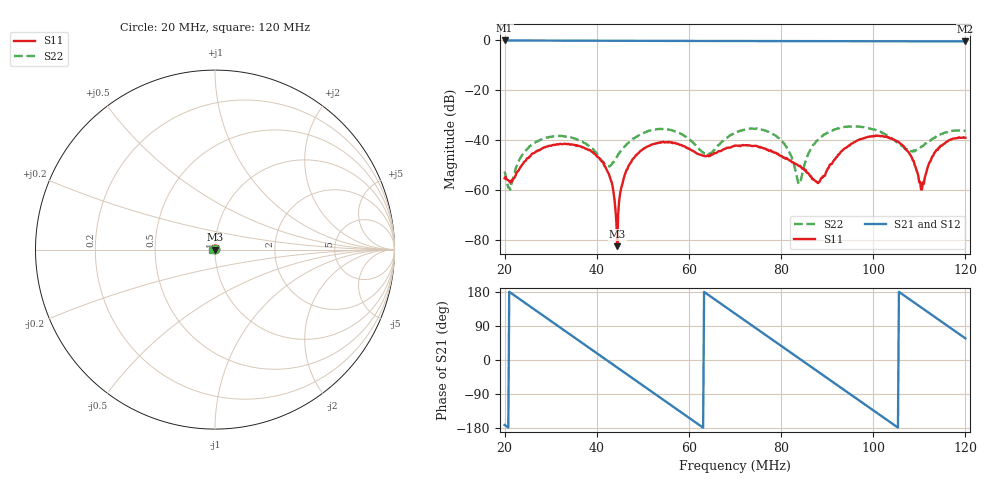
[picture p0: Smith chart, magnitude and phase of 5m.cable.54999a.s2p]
! Anritsu VNA Master:  Model: MS2036C/10/77
! SN:  1601066
! /card0/usr/cable.54999a.s2p
! Existing Calibration Information:
! TYPE:  Current Settings,  Active Cal Settings
! TIME:  05/23/2018 11:15:14 AM,  05/23/2018 11:07:33 AM
! INTERNAL TEMP:  48.5 C,  48.8 C
! # POINTS:  500,  500
! START FREQ:  20.000 MHz,  20.000 MHz
! STOP FREQ:  120.000 MHz,  120.000 MHz
! SOURCE POWER:  High,  High
! IFBW:  50 Hz,  50 Hz
! AVG FACTOR:  1 ,  1
! REF PLANE 1:  0 mm,  0 mm
! REF PLANE 2:  0 mm,  0 mm
! CAL TYPE:  Full 2 Port,  Full 2 Port
! CAL METHOD:  SOLT,  SOLT
! CAL LINE TYPE:  Coax,  Coax
! DUT PORT 1:  K-Conn(M),  K-Conn(M)
! DUT PORT 2:  K-Conn(M),  K-Conn(M)
! CAL STATUS:  OK: Accuracy High,  --
# GHZ S DB R 50.0
! FREQ.GHZ  S11DB  S11A  S21DB  S21A  S12DB  S12A  S22DB  S22A
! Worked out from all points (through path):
!   500 points, 20 MHz to 120 MHz, reference 50 ohm
!   highest |S21| = -0.24 dB at 20 MHz (marker M1); lowest = -0.6 dB at 120 MHz (marker M2)
!   group delay of S21, straight-line fit = 23.6 ns
!   lowest |S11| = -82.7 dB at 44.45 MHz (marker M3), VSWR 1.00, Z = 50 - j0.00205 ohm
!   |S11| at or under -10 dB: start of sweep to end of sweep
!   |S22| runs from -60.1 to -34.7 dB; largest |S21 - S12| = 0.0017
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0.02  -55.47 132.6  -0.24 -171.5  -0.25 -171.5  -52.75 138.7
0.02120241  -57.17 74.6  -0.25 178.3  -0.26 178.3  -60.10 49.6
0.02420842  -48.90 -28.6  -0.27 152.6  -0.27 152.6  -45.13 -44.6
0.02921844  -42.69 -97.1  -0.30 109.9  -0.30 109.9  -39.10 -101.8
0.03683367  -43.07 168.3  -0.34 44.9  -0.34 45.0  -40.74 173.4
0.04224449  -52.39 105.8  -0.36 -1.1  -0.36 -1.1  -50.34 58.9
0.0444489  -82.67 -163.8  -0.37 -19.9  -0.37 -19.9  -46.69 -20.5
0.0454509  -58.47 -118.0  -0.38 -28.4  -0.38 -28.4  -44.11 -40.4
0.04725451  -49.36 -137.7  -0.38 -43.8  -0.38 -43.8  -40.46 -67.9
0.05346693  -41.25 148.2  -0.41 -96.7  -0.40 -96.7  -35.66 -130.4
0.06208417  -45.85 6.3  -0.44 -170.1  -0.44 -170.1  -43.41 -171.6
0.0701002  -42.40 -158.3  -0.46 121.7  -0.47 121.7  -37.32 -123.0
0.07470942  -42.52 155.4  -0.48 82.4  -0.48 82.4  -35.48 -152.7
0.07931864  -45.66 129.3  -0.49 43.2  -0.49 43.2  -39.20 168.4
0.08392786  -50.57 120.9  -0.51 4.0  -0.50 4.0  -57.61 48.5
0.08673347  -55.80 131.2  -0.51 -19.9  -0.51 -19.9  -42.94 -57.8
0.0949499  -42.29 180.0  -0.54 -89.8  -0.54 -89.8  -34.79 -140.7
0.1033667  -39.01 94.2  -0.56 -161.4  -0.56 -161.4  -38.70 121.8
0.1077756  -45.28 41.4  -0.57 161.1  -0.57 161.1  -44.43 32.0
0.1105812  -59.87 -75.0  -0.58 137.2  -0.58 137.2  -42.74 -47.3
0.1137876  -44.02 174.8  -0.59 109.9  -0.59 109.9  -38.54 -100.7
0.12  -39.22 93.0  -0.61 57.1  -0.60 57.1  -36.51 -161.7
